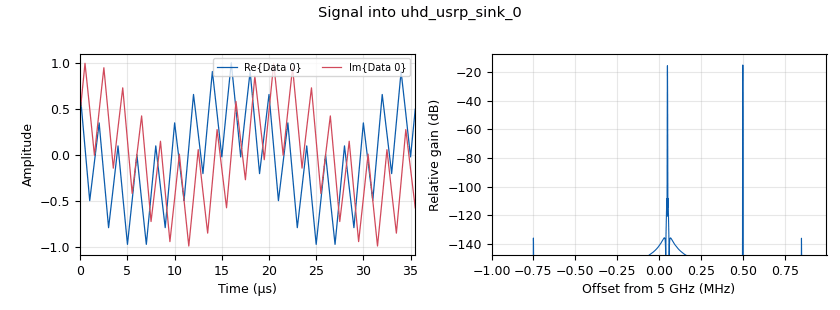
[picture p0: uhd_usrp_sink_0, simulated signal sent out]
<?xml version='1.0' encoding='utf-8'?>
<?grc format='1' created='3.7.8'?>
<flow_graph>
<block>
<key>options</key>
<param><key>id</key><value>top_block</value></param>
<param><key>category</key><value>Custom</value></param>
<param><key>generate_options</key><value>qt_gui</value></param>
</block>
<block>
<key>variable</key>
<param><key>id</key><value>delay</value></param>
<param><key>value</key><value>range_delay</value></param>
</block>
<block>
<key>variable</key>
<param><key>id</key><value>freq</value></param>
<param><key>value</key><value>range_freq</value></param>
</block>
<block>
<key>variable</key>
<param><key>id</key><value>freq_sine</value></param>
<param><key>value</key><value>range_freq_sine</value></param>
</block>
<block>
<key>variable_qtgui_range</key>
<param><key>id</key><value>range_delay</value></param>
<param><key>value</key><value>0</value></param>
<param><key>label</key><value>delay</value></param>
<param><key>orient</key><value>Qt.Horizontal</value></param>
<param><key>start</key><value>0</value></param>
<param><key>step</key><value>1</value></param>
<param><key>stop</key><value>8</value></param>
</block>
<block>
<key>variable_qtgui_range</key>
<param><key>id</key><value>range_freq</value></param>
<param><key>value</key><value>5e9</value></param>
<param><key>label</key><value>freq</value></param>
<param><key>orient</key><value>Qt.Horizontal</value></param>
<param><key>start</key><value>1e9</value></param>
<param><key>step</key><value>10e3</value></param>
<param><key>stop</key><value>6e9</value></param>
</block>
<block>
<key>variable_qtgui_range</key>
<param><key>id</key><value>range_freq_sine</value></param>
<param><key>value</key><value>50e3</value></param>
<param><key>label</key><value>sine frew</value></param>
<param><key>orient</key><value>Qt.Horizontal</value></param>
<param><key>start</key><value>1e3</value></param>
<param><key>step</key><value>1e3</value></param>
<param><key>stop</key><value>500e3</value></param>
</block>
<block>
<key>variable_qtgui_range</key>
<param><key>id</key><value>range_rx_gain</value></param>
<param><key>value</key><value>0</value></param>
<param><key>label</key><value>rx gain</value></param>
<param><key>orient</key><value>Qt.Horizontal</value></param>
<param><key>start</key><value>0</value></param>
<param><key>step</key><value>1</value></param>
<param><key>stop</key><value>60</value></param>
</block>
<block>
<key>variable_qtgui_range</key>
<param><key>id</key><value>range_tx_gain</value></param>
<param><key>value</key><value>0</value></param>
<param><key>label</key><value>tx gain</value></param>
<param><key>orient</key><value>Qt.Horizontal</value></param>
<param><key>start</key><value>0</value></param>
<param><key>step</key><value>1</value></param>
<param><key>stop</key><value>60</value></param>
</block>
<block>
<key>variable_rrc_filter_taps</key>
<param><key>id</key><value>rrc</value></param>
<param><key>alpha</key><value>0.35</value></param>
<param><key>gain</key><value>1.0</value></param>
<param><key>ntaps</key><value>11 * sps</value></param>
<param><key>samp_rate</key><value>samp_rate</value></param>
<param><key>sym_rate</key><value>samp_rate / sps</value></param>
</block>
<block>
<key>variable</key>
<param><key>id</key><value>rx_gain</value></param>
<param><key>value</key><value>range_rx_gain</value></param>
</block>
<block>
<key>variable</key>
<param><key>id</key><value>samp_rate</value></param>
<param><key>value</key><value>2e6</value></param>
</block>
<block>
<key>variable</key>
<param><key>id</key><value>sps</value></param>
<param><key>value</key><value>4</value></param>
</block>
<block>
<key>variable</key>
<param><key>id</key><value>tx_gain</value></param>
<param><key>value</key><value>range_tx_gain</value></param>
</block>
<block>
<key>analog_const_source_x</key>
<param><key>id</key><value>analog_const_source_x_0</value></param>
<param><key>const</key><value>1+0j</value></param>
<param><key>_enabled</key><value>False</value></param>
<param><key>type</key><value>complex</value></param>
</block>
<block>
<key>analog_random_source_x</key>
<param><key>id</key><value>analog_random_source_x_0</value></param>
<param><key>_enabled</key><value>False</value></param>
<param><key>max</key><value>255</value></param>
<param><key>min</key><value>0</value></param>
<param><key>num_samps</key><value>1000</value></param>
<param><key>type</key><value>byte</value></param>
<param><key>repeat</key><value>True</value></param>
</block>
<block>
<key>analog_sig_source_x</key>
<param><key>id</key><value>analog_sig_source_x_0</value></param>
<param><key>amp</key><value>1</value></param>
<param><key>freq</key><value>freq_sine</value></param>
<param><key>offset</key><value>0</value></param>
<param><key>type</key><value>complex</value></param>
<param><key>samp_rate</key><value>samp_rate</value></param>
<param><key>waveform</key><value>analog.GR_SIN_WAVE</value></param>
</block>
<block>
<key>analog_sig_source_x</key>
<param><key>id</key><value>analog_sig_source_x_0_0</value></param>
<param><key>amp</key><value>1</value></param>
<param><key>freq</key><value>500e3</value></param>
<param><key>offset</key><value>0</value></param>
<param><key>type</key><value>complex</value></param>
<param><key>samp_rate</key><value>samp_rate</value></param>
<param><key>waveform</key><value>analog.GR_SIN_WAVE</value></param>
</block>
<block>
<key>blocks_add_xx</key>
<param><key>id</key><value>blocks_add_xx_0</value></param>
<param><key>type</key><value>complex</value></param>
</block>
<block>
<key>blocks_delay</key>
<param><key>id</key><value>blocks_delay_0</value></param>
<param><key>delay</key><value>int(delay)</value></param>
<param><key>_enabled</key><value>False</value></param>
<param><key>type</key><value>complex</value></param>
</block>
<block>
<key>blocks_delay</key>
<param><key>id</key><value>blocks_delay_0_0</value></param>
<param><key>delay</key><value>int(delay)</value></param>
<param><key>_enabled</key><value>False</value></param>
<param><key>type</key><value>complex</value></param>
</block>
<block>
<key>blocks_multiply_const_vxx</key>
<param><key>id</key><value>blocks_multiply_const_vxx_0</value></param>
<param><key>const</key><value>0.5</value></param>
<param><key>type</key><value>complex</value></param>
</block>
<block>
<key>digital_pfb_clock_sync_xxx</key>
<param><key>id</key><value>digital_pfb_clock_sync_xxx_0</value></param>
<param><key>_enabled</key><value>False</value></param>
<param><key>filter_size</key><value>32</value></param>
<param><key>init_phase</key><value>16</value></param>
<param><key>loop_bw</key><value>0.03</value></param>
<param><key>max_dev</key><value>1.5</value></param>
<param><key>osps</key><value>1</value></param>
<param><key>sps</key><value>sps</value></param>
<param><key>taps</key><value>firdes.root_raised_cosine(32, 32*sps, 1.0, 0.35, 11*sps*32)</value></param>
<param><key>type</key><value>ccf</value></param>
</block>
<block>
<key>digital_psk_mod</key>
<param><key>id</key><value>digital_psk_mod_0</value></param>
<param><key>differential</key><value>False</value></param>
<param><key>_enabled</key><value>False</value></param>
<param><key>excess_bw</key><value>0.35</value></param>
<param><key>mod_code</key><value>"none"</value></param>
<param><key>constellation_points</key><value>2</value></param>
<param><key>samples_per_symbol</key><value>sps</value></param>
</block>
<block>
<key>fir_filter_xxx</key>
<param><key>id</key><value>fir_filter_xxx_0_0</value></param>
<param><key>decim</key><value>sps</value></param>
<param><key>_enabled</key><value>False</value></param>
<param><key>taps</key><value>rrc</value></param>
<param><key>type</key><value>ccf</value></param>
</block>
<block>
<key>fir_filter_xxx</key>
<param><key>id</key><value>fir_filter_xxx_0_0_0</value></param>
<param><key>decim</key><value>sps</value></param>
<param><key>_enabled</key><value>False</value></param>
<param><key>taps</key><value>rrc</value></param>
<param><key>type</key><value>ccf</value></param>
</block>
<block>
<key>qtgui_const_sink_x</key>
<param><key>id</key><value>qtgui_const_sink_x_0_1</value></param>
<param><key>_enabled</key><value>False</value></param>
<param><key>name</key><value>"FIR"</value></param>
<param><key>size</key><value>1024</value></param>
<param><key>type</key><value>complex</value></param>
</block>
<block>
<key>qtgui_const_sink_x</key>
<param><key>id</key><value>qtgui_const_sink_x_0_1_1</value></param>
<param><key>_enabled</key><value>False</value></param>
<param><key>name</key><value>"FIR"</value></param>
<param><key>size</key><value>1024</value></param>
<param><key>type</key><value>complex</value></param>
</block>
<block>
<key>qtgui_freq_sink_x</key>
<param><key>id</key><value>qtgui_freq_sink_x_0</value></param>
<param><key>bw</key><value>samp_rate</value></param>
<param><key>fc</key><value>0</value></param>
<param><key>fftsize</key><value>1024</value></param>
<param><key>showports</key><value>True</value></param>
<param><key>type</key><value>complex</value></param>
<param><key>wintype</key><value>firdes.WIN_BLACKMAN_hARRIS</value></param>
</block>
<block>
<key>qtgui_time_sink_x</key>
<param><key>id</key><value>qtgui_time_sink_x_0_0_0_0</value></param>
<param><key>_enabled</key><value>False</value></param>
<param><key>color1</key><value>"blue"</value></param>
<param><key>label1</key><value></value></param>
<param><key>color2</key><value>"red"</value></param>
<param><key>label2</key><value></value></param>
<param><key>name</key><value>"Rx"</value></param>
<param><key>size</key><value>1024</value></param>
<param><key>srate</key><value>samp_rate</value></param>
<param><key>type</key><value>complex</value></param>
</block>
<block>
<key>qtgui_waterfall_sink_x</key>
<param><key>id</key><value>qtgui_waterfall_sink_x_0</value></param>
<param><key>bw</key><value>samp_rate</value></param>
<param><key>fc</key><value>0</value></param>
<param><key>fftsize</key><value>1024</value></param>
<param><key>showports</key><value>True</value></param>
<param><key>type</key><value>complex</value></param>
<param><key>wintype</key><value>firdes.WIN_BLACKMAN_hARRIS</value></param>
</block>
<block>
<key>uhd_usrp_sink</key>
<param><key>id</key><value>uhd_usrp_sink_0</value></param>
<param><key>ant0</key><value>""</value></param>
<param><key>center_freq0</key><value>5e9</value></param>
<param><key>norm_gain0</key><value>False</value></param>
<param><key>gain0</key><value>tx_gain</value></param>
<param><key>clock_rate</key><value>0.0</value></param>
<param><key>dev_args</key><value>"addr=192.168.10.2"</value></param>
<param><key>type</key><value>fc32</value></param>
<param><key>sd_spec0</key><value>""</value></param>
<param><key>samp_rate</key><value>samp_rate</value></param>
<param><key>sync</key><value></value></param>
</block>
<block>
<key>uhd_usrp_source</key>
<param><key>id</key><value>uhd_usrp_source_0</value></param>
<param><key>ant0</key><value></value></param>
<param><key>center_freq0</key><value>freq</value></param>
<param><key>norm_gain0</key><value>False</value></param>
<param><key>gain0</key><value>rx_gain</value></param>
<param><key>clock_rate</key><value>0.0</value></param>
<param><key>dev_addr</key><value>"addr=192.168.10.2"</value></param>
<param><key>dev_args</key><value>""</value></param>
<param><key>sd_spec0</key><value>"B:0"</value></param>
<param><key>type</key><value>fc32</value></param>
<param><key>samp_rate</key><value>samp_rate</value></param>
<param><key>sync</key><value></value></param>
</block>
<connection><source_block_id>analog_const_source_x_0</source_block_id><sink_block_id>blocks_multiply_const_vxx_0</sink_block_id><source_key>0</source_key><sink_key>0</sink_key></connection>
<connection><source_block_id>analog_random_source_x_0</source_block_id><sink_block_id>digital_psk_mod_0</sink_block_id><source_key>0</source_key><sink_key>0</sink_key></connection>
<connection><source_block_id>analog_sig_source_x_0</source_block_id><sink_block_id>blocks_add_xx_0</sink_block_id><source_key>0</source_key><sink_key>0</sink_key></connection>
<connection><source_block_id>analog_sig_source_x_0_0</source_block_id><sink_block_id>blocks_add_xx_0</sink_block_id><source_key>0</source_key><sink_key>1</sink_key></connection>
<connection><source_block_id>blocks_add_xx_0</source_block_id><sink_block_id>blocks_multiply_const_vxx_0</sink_block_id><source_key>0</source_key><sink_key>0</sink_key></connection>
<connection><source_block_id>blocks_delay_0</source_block_id><sink_block_id>fir_filter_xxx_0_0</sink_block_id><source_key>0</source_key><sink_key>0</sink_key></connection>
<connection><source_block_id>blocks_delay_0_0</source_block_id><sink_block_id>fir_filter_xxx_0_0_0</sink_block_id><source_key>0</source_key><sink_key>0</sink_key></connection>
<connection><source_block_id>blocks_multiply_const_vxx_0</source_block_id><sink_block_id>blocks_delay_0_0</sink_block_id><source_key>0</source_key><sink_key>0</sink_key></connection>
<connection><source_block_id>blocks_multiply_const_vxx_0</source_block_id><sink_block_id>uhd_usrp_sink_0</sink_block_id><source_key>0</source_key><sink_key>0</sink_key></connection>
<connection><source_block_id>fir_filter_xxx_0_0</source_block_id><sink_block_id>qtgui_const_sink_x_0_1</sink_block_id><source_key>0</source_key><sink_key>0</sink_key></connection>
<connection><source_block_id>fir_filter_xxx_0_0_0</source_block_id><sink_block_id>qtgui_const_sink_x_0_1_1</sink_block_id><source_key>0</source_key><sink_key>0</sink_key></connection>
<connection><source_block_id>uhd_usrp_source_0</source_block_id><sink_block_id>blocks_delay_0</sink_block_id><source_key>0</source_key><sink_key>0</sink_key></connection>
<connection><source_block_id>uhd_usrp_source_0</source_block_id><sink_block_id>digital_pfb_clock_sync_xxx_0</sink_block_id><source_key>0</source_key><sink_key>0</sink_key></connection>
<connection><source_block_id>uhd_usrp_source_0</source_block_id><sink_block_id>qtgui_freq_sink_x_0</sink_block_id><source_key>0</source_key><sink_key>0</sink_key></connection>
<connection><source_block_id>uhd_usrp_source_0</source_block_id><sink_block_id>qtgui_waterfall_sink_x_0</sink_block_id><source_key>0</source_key><sink_key>0</sink_key></connection>
</flow_graph>
